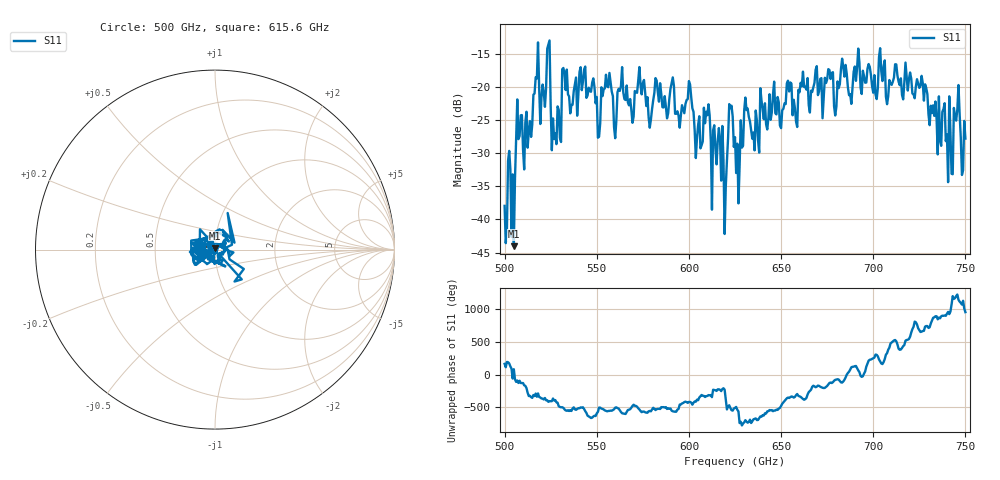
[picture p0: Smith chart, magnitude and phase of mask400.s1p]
!Created with skrf (http://scikit-rf.org).
# GHz S MA R 50.0
!freq magS11 angS11
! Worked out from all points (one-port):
!   401 points, 500 GHz to 750 GHz, reference 50 ohm
!   lowest |S11| = -44.0 dB at 505 GHz (marker M1), VSWR 1.01, Z = 50.1 + j0.624 ohm
!   |S11| at or under -10 dB: start of sweep to end of sweep
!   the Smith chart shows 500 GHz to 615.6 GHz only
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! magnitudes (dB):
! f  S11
! 500 GHz  -37.9
! 505 GHz  -44.0
! 507.5 GHz  -27.9
! 513.8 GHz  -25.2
! 516.9 GHz  -18.6
! 520.6 GHz  -19.7
! 523.8 GHz  -13.6
! 526.9 GHz  -27.9
! 531.2 GHz  -17.4
! 542.5 GHz  -19.2
! 550.6 GHz  -27.7
! 562.5 GHz  -20.6
! 579.4 GHz  -24.9
! 590.6 GHz  -19.5
! 593.8 GHz  -23.7
! 609.4 GHz  -23.8
! 618.8 GHz  -31.1
! 622.5 GHz  -23.2
! 625 GHz  -27.6
! 656.2 GHz  -24.3
! 676.9 GHz  -18.8
! 680 GHz  -23.0
! 683.8 GHz  -17.0
! 687.5 GHz  -21.1
! 718.8 GHz  -20.6
! 741.9 GHz  -26.8
! 745 GHz  -25.1
! 750 GHz  -27.8
